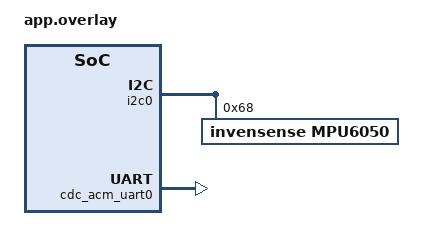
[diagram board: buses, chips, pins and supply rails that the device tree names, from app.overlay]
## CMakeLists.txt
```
# SPDX-License-Identifier: Apache-2.0

cmake_minimum_required(VERSION 3.20.0)

find_package(Zephyr REQUIRED HINTS $ENV{ZEPHYR_BASE})
project(picow_gyro_acc)

target_sources(app PRIVATE src/main.c)
```

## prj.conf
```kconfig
#CDC specific configurations
CONFIG_USB_DEVICE_STACK=y
CONFIG_USB_DEVICE_PRODUCT="RPi Pico USB Serial Console"
CONFIG_USB_DEVICE_VID=0001
CONFIG_CONSOLE=y

#GPIO specific configurations
CONFIG_GPIO=y #Enables the use of GPIO pins

#MPU6050 specific configurations
CONFIG_I2C=y
CONFIG_SENSOR=y
CONFIG_MPU6050_TRIGGER_NONE=y
CONFIG_CBPRINTF_FP_SUPPORT=y


#UART specific configurations - also required for CDC ACM
CONFIG_SERIAL=y # Enable options for serial drivers
CONFIG_UART_CONSOLE=y # Sets the default for printk and printf to output to the UART serial console
CONFIG_UART_LINE_CTRL=y # This enables the API for apps to control the serial line, such as baud rate, CTS and RTS.
```

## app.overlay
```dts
/ {
    chosen {
        zephyr,console = &cdc_acm_uart0;
    };
};

&i2c0 {
    status = "okay";
    mpu6050: mpu6050@68 {
        compatible = "invensense,mpu6050";
        reg = <0x68>;
        label = "MPU6050";
        status = "okay";
    };
};

&zephyr_udc0 {
    cdc_acm_uart0: cdc_acm_uart0 {
        compatible = "zephyr,cdc-acm-uart";
        label = "CDC_ACM_0";
        status = "okay";
    };
};
```

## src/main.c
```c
#include <zephyr/kernel.h>
#include <zephyr/drivers/gpio.h>
#include <zephyr/usb/usb_device.h>
#include <zephyr/drivers/uart.h>
#include <zephyr/drivers/i2c.h>
#include <zephyr/drivers/sensor.h>

#define MPU6050_NODE DT_NODELABEL(mpu6050)

int main(void) {
    const struct device *mpu6050 = DEVICE_DT_GET(MPU6050_NODE);
    const struct device *usb_acm = DEVICE_DT_GET(DT_CHOSEN(zephyr_console));
    
    struct sensor_value accel[3];
    struct sensor_value gyro[3];
    
    int ret;

    if (!device_is_ready(usb_acm)) {
        printk("Failed to get USB UART device\n");
        return 0;
    }

    if (usb_enable(NULL)) {
        printk("Failed to enable USB\n");
        return 0;
    }

    if (!device_is_ready(mpu6050)) {
        printk("MPU6050 device not found\n");
        return 0;
    }

    while (1) {
        ret = sensor_sample_fetch(mpu6050);
        if (ret < 0) {
            printk("Failed to fetch sensor sample\n");
            k_sleep(K_SECONDS(1));
            continue;
        }

        ret = sensor_channel_get(mpu6050, SENSOR_CHAN_ACCEL_XYZ, accel);
        if (ret < 0) {
            printk("Failed to get accelerometer data\n");
            k_sleep(K_SECONDS(1));
            continue;
        }

        ret = sensor_channel_get(mpu6050, SENSOR_CHAN_GYRO_XYZ, gyro);
        if (ret < 0) {
            printk("Failed to get gyroscope data\n");
            k_sleep(K_SECONDS(1));
            continue;
        }

        char buffer[256];
        int len = snprintf(buffer, sizeof(buffer),
                           "\033[2J\033[H"
                           "Accel (m/s²)  |  Gyro (°/s)\r\n"
                           "--------------|-------------\r\n"
                           "X = %9.4f | X = %9.4f\r\n"
                           "Y = %9.4f | Y = %9.4f\r\n"
                           "Z = %9.4f | Z = %9.4f\r\n",
                           sensor_value_to_double(&accel[0]),
                           sensor_value_to_double(&gyro[0]),
                           sensor_value_to_double(&accel[1]),
                           sensor_value_to_double(&gyro[1]),
                           sensor_value_to_double(&accel[2]),
                           sensor_value_to_double(&gyro[2]));

        uart_fifo_fill(usb_acm, (const uint8_t *)buffer, len);

        k_sleep(K_MSEC(100));
    }
}
	
```
